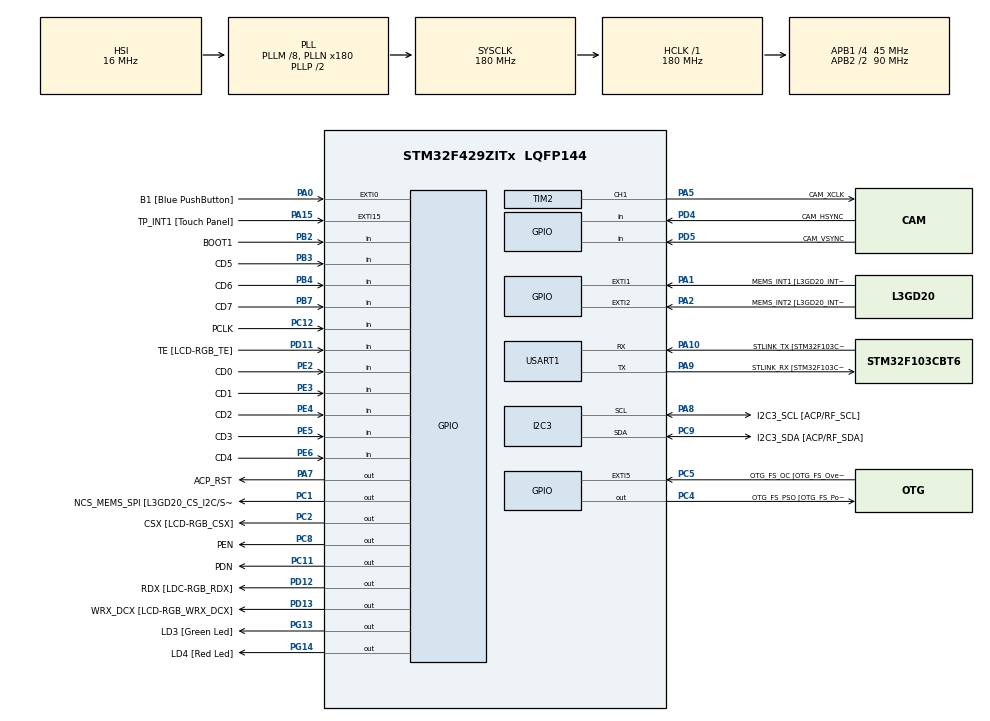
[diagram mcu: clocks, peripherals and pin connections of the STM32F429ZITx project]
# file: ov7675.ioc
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Mcu.Family=STM32F4
Mcu.Name=STM32F429ZITx
Mcu.Package=LQFP144
NVIC.PriorityGroup=NVIC_PRIORITYGROUP_0
PA0/WKUP.GPIO_Label=B1 [Blue PushButton]
PA0/WKUP.GPIO_ModeDefaultEXTI=GPIO_MODE_EVT_RISING
PA0/WKUP.GPIO_PuPd=GPIO_NOPULL
PA0/WKUP.Signal=GPXTI0
PA1.GPIO_Label=MEMS_INT1 [L3GD20_INT1]
PA1.GPIO_ModeDefaultEXTI=GPIO_MODE_EVT_RISING
PA1.GPIO_PuPd=GPIO_NOPULL
PA1.Signal=GPXTI1
PA10.GPIO_Label=STLINK_TX [STM32F103CBT6_PA2]
PA10.Mode=Asynchronous
PA10.Signal=USART1_RX
PA11.GPIO_Label=R4
PA11.GPIO_Mode=GPIO_MODE_AF_PP
PA11.GPIO_PuPd=GPIO_NOPULL
PA11.GPIO_Speed=GPIO_SPEED_FREQ_LOW
PA11.Signal=LTDC_R4
PA12.GPIO_Label=R5
PA12.GPIO_Mode=GPIO_MODE_AF_PP
PA12.GPIO_PuPd=GPIO_NOPULL
PA12.GPIO_Speed=GPIO_SPEED_FREQ_LOW
PA12.Signal=LTDC_R5
PA13.GPIO_Label=SWDIO
PA13.Signal=SYS_JTMS-SWDIO
PA14.GPIO_Label=SWCLK
PA14.Signal=SYS_JTCK-SWCLK
PA15.GPIO_Label=TP_INT1 [Touch Panel]
PA15.GPIO_ModeDefaultEXTI=GPIO_MODE_EVT_RISING
PA15.GPIO_PuPd=GPIO_NOPULL
PA15.Signal=GPXTI15
PA2.GPIO_Label=MEMS_INT2 [L3GD20_INT2]
PA2.GPIO_ModeDefaultEXTI=GPIO_MODE_EVT_RISING
PA2.GPIO_PuPd=GPIO_NOPULL
PA2.Signal=GPXTI2
PA3.GPIO_Label=B5
PA3.GPIO_Mode=GPIO_MODE_AF_PP
PA3.GPIO_PuPd=GPIO_NOPULL
PA3.GPIO_Speed=GPIO_SPEED_FREQ_LOW
PA3.Signal=LTDC_B5
PA4.GPIO_Label=VSYNC
PA4.GPIO_Mode=GPIO_MODE_AF_PP
PA4.GPIO_PuPd=GPIO_NOPULL
PA4.GPIO_Speed=GPIO_SPEED_FREQ_LOW
PA4.Signal=LTDC_VSYNC
PA5.GPIO_Label=CAM_XCLK
PA5.GPIO_Speed=GPIO_SPEED_FREQ_VERY_HIGH
PA5.Signal=S_TIM2_CH1_ETR
PA6.GPIO_Label=G2
PA6.GPIO_Mode=GPIO_MODE_AF_PP
PA6.GPIO_PuPd=GPIO_NOPULL
PA6.GPIO_Speed=GPIO_SPEED_FREQ_LOW
PA6.Signal=LTDC_G2
PA7.GPIO_Label=ACP_RST
PA7.GPIO_Mode=GPIO_MODE_OUTPUT_PP
PA7.GPIO_PuPd=GPIO_NOPULL
PA7.GPIO_Speed=GPIO_SPEED_FREQ_LOW
PA7.Signal=GPIO_Output
PA8.GPIO_Label=I2C3_SCL [ACP/RF_SCL]
PA8.GPIO_Mode=GPIO_MODE_AF_OD
PA8.GPIO_PuPd=GPIO_NOPULL
PA8.GPIO_Speed=GPIO_SPEED_FREQ_LOW
PA8.Mode=I2C
PA8.Signal=I2C3_SCL
PA9.GPIO_Label=STLINK_RX [STM32F103CBT6_PA3]
PA9.Mode=Asynchronous
PA9.Signal=USART1_TX
PB0.GPIO_Label=R3
PB0.GPIO_Mode=GPIO_MODE_AF_PP
PB0.GPIO_PuPd=GPIO_NOPULL
PB0.GPIO_Speed=GPIO_SPEED_FREQ_LOW
PB0.Signal=LTDC_R3
PB1.GPIO_Label=R6
PB1.GPIO_Mode=GPIO_MODE_AF_PP
PB1.GPIO_PuPd=GPIO_NOPULL
PB1.GPIO_Speed=GPIO_SPEED_FREQ_LOW
PB1.Signal=LTDC_R6
PB10.GPIO_Label=G4
PB10.GPIO_Mode=GPIO_MODE_AF_PP
PB10.GPIO_PuPd=GPIO_NOPULL
PB10.GPIO_Speed=GPIO_SPEED_FREQ_LOW
PB10.Signal=LTDC_G4
PB11.GPIO_Label=G5
PB11.GPIO_Mode=GPIO_MODE_AF_PP
PB11.GPIO_PuPd=GPIO_NOPULL
PB11.GPIO_Speed=GPIO_SPEED_FREQ_LOW
PB11.Signal=LTDC_G5
PB12.GPIO_Label=OTG_HS_ID
PB12.GPIO_Mode=GPIO_MODE_AF_PP
PB12.GPIO_PuPd=GPIO_NOPULL
PB12.GPIO_Speed=GPIO_SPEED_FREQ_LOW
PB12.Signal=USB_OTG_HS_ID
PB13.GPIO_Label=VBUS_HS
PB13.GPIO_Mode=GPIO_MODE_INPUT
PB13.GPIO_PuPd=GPIO_NOPULL
PB13.Signal=USB_OTG_HS_VBUS
PB14.GPIO_Label=OTG_HS_DM
PB14.GPIO_Mode=GPIO_MODE_AF_PP
PB14.GPIO_PuPd=GPIO_NOPULL
PB14.GPIO_Speed=GPIO_SPEED_FREQ_LOW
PB14.Signal=USB_OTG_HS_DM
PB15.GPIO_Label=OTG_HS_DP
PB15.GPIO_Mode=GPIO_MODE_AF_PP
PB15.GPIO_PuPd=GPIO_NOPULL
PB15.GPIO_Speed=GPIO_SPEED_FREQ_LOW
PB15.Signal=USB_OTG_HS_DP
PB2/BOOT1.GPIO_Label=BOOT1
PB2/BOOT1.GPIO_Mode=GPIO_MODE_INPUT
PB2/BOOT1.GPIO_PuPd=GPIO_NOPULL
PB2/BOOT1.Signal=GPIO_Input
PB3.GPIO_Label=CD5
PB3.Signal=GPIO_Input
PB4.GPIO_Label=CD6
PB4.Signal=GPIO_Input
PB5.GPIO_Label=SDCKE1
PB5.GPIO_Mode=GPIO_MODE_AF_PP
PB5.GPIO_PuPd=GPIO_NOPULL
PB5.GPIO_Speed=GPIO_SPEED_FREQ_VERY_HIGH
PB5.Signal=FMC_SDCKE1
PB6.GPIO_Label=SDNE1 [SDRAM_CS]
PB6.GPIO_Mode=GPIO_MODE_AF_PP
PB6.GPIO_PuPd=GPIO_NOPULL
PB6.GPIO_Speed=GPIO_SPEED_FREQ_VERY_HIGH
PB6.Signal=FMC_SDNE1
PB7.GPIO_Label=CD7
PB7.Signal=GPIO_Input
PB8.GPIO_Label=B6
PB8.GPIO_Mode=GPIO_MODE_AF_PP
PB8.GPIO_PuPd=GPIO_NOPULL
PB8.GPIO_Speed=GPIO_SPEED_FREQ_LOW
PB8.Signal=LTDC_B6
PB9.GPIO_Label=B7
PB9.GPIO_Mode=GPIO_MODE_AF_PP
PB9.GPIO_PuPd=GPIO_NOPULL
PB9.GPIO_Speed=GPIO_SPEED_FREQ_LOW
PB9.Signal=LTDC_B7
PC0.GPIO_Label=SDNWE
PC0.GPIO_Mode=GPIO_MODE_AF_PP
PC0.GPIO_PuPd=GPIO_NOPULL
PC0.GPIO_Speed=GPIO_SPEED_FREQ_VERY_HIGH
PC0.Signal=FMC_SDNWE
PC1.GPIO_Label=NCS_MEMS_SPI [L3GD20_CS_I2C/SPI]
PC1.GPIO_Mode=GPIO_MODE_OUTPUT_PP
PC1.GPIO_PuPd=GPIO_NOPULL
PC1.GPIO_Speed=GPIO_SPEED_FREQ_LOW
PC1.Signal=GPIO_Output
PC10.GPIO_Label=R2
PC10.GPIO_Mode=GPIO_MODE_AF_PP
PC10.GPIO_PuPd=GPIO_NOPULL
PC10.GPIO_Speed=GPIO_SPEED_FREQ_LOW
PC10.Signal=LTDC_R2
PC11.GPIO_Label=PDN
PC11.Signal=GPIO_Output
PC12.GPIO_Label=PCLK
PC12.Signal=GPIO_Input
PC14/OSC32_IN.GPIO_Label=PC14-OSC32_IN
PC14/OSC32_IN.Signal=RCC_OSC32_IN
PC15/OSC32_OUT.GPIO_Label=PC15-OSC32_OUT
PC15/OSC32_OUT.Signal=RCC_OSC32_OUT
PC2.GPIO_Label=CSX [LCD-RGB_CSX]
PC2.GPIO_Mode=GPIO_MODE_OUTPUT_PP
PC2.GPIO_PuPd=GPIO_NOPULL
PC2.GPIO_Speed=GPIO_SPEED_FREQ_LOW
PC2.Signal=GPIO_Output
PC4.GPIO_Label=OTG_FS_PSO [OTG_FS_PowerSwitchOn]
PC4.GPIO_Mode=GPIO_MODE_OUTPUT_PP
PC4.GPIO_PuPd=GPIO_NOPULL
PC4.GPIO_Speed=GPIO_SPEED_FREQ_LOW
PC4.Signal=GPIO_Output
PC5.GPIO_Label=OTG_FS_OC [OTG_FS_OverCurrent]
PC5.GPIO_ModeDefaultEXTI=GPIO_MODE_EVT_RISING
PC5.Signal=GPXTI5
PC6.GPIO_Label=HSYNC
PC6.GPIO_Mode=GPIO_MODE_AF_PP
PC6.GPIO_PuPd=GPIO_NOPULL
PC6.GPIO_Speed=GPIO_SPEED_FREQ_LOW
PC6.Signal=LTDC_HSYNC
PC7.GPIO_Label=G6
PC7.GPIO_Mode=GPIO_MODE_AF_PP
PC7.GPIO_PuPd=GPIO_NOPULL
PC7.GPIO_Speed=GPIO_SPEED_FREQ_LOW
PC7.Signal=LTDC_G6
PC8.GPIO_Label=PEN
PC8.Signal=GPIO_Output
PC9.GPIO_Label=I2C3_SDA [ACP/RF_SDA]
PC9.GPIO_Mode=GPIO_MODE_AF_OD
PC9.GPIO_PuPd=GPIO_NOPULL
PC9.GPIO_Speed=GPIO_SPEED_FREQ_LOW
PC9.Mode=I2C
PC9.Signal=I2C3_SDA
PD0.GPIO_Label=D2
PD0.GPIO_Mode=GPIO_MODE_AF_PP
PD0.GPIO_PuPd=GPIO_NOPULL
PD0.GPIO_Speed=GPIO_SPEED_FREQ_VERY_HIGH
PD0.Signal=FMC_D2_DA2
PD1.GPIO_Label=D3
PD1.GPIO_Mode=GPIO_MODE_AF_PP
PD1.GPIO_PuPd=GPIO_NOPULL
PD1.GPIO_Speed=GPIO_SPEED_FREQ_VERY_HIGH
PD1.Signal=FMC_D3_DA3
PD10.GPIO_Label=D15
PD10.GPIO_Mode=GPIO_MODE_AF_PP
PD10.GPIO_PuPd=GPIO_NOPULL
PD10.GPIO_Speed=GPIO_SPEED_FREQ_VERY_HIGH
PD10.Signal=FMC_D15_DA15
PD11.GPIO_Label=TE [LCD-RGB_TE]
PD11.GPIO_Mode=GPIO_MODE_INPUT
PD11.GPIO_PuPd=GPIO_NOPULL
PD11.Signal=GPIO_Input
PD12.GPIO_Label=RDX [LDC-RGB_RDX]
PD12.GPIO_Mode=GPIO_MODE_OUTPUT_PP
PD12.GPIO_PuPd=GPIO_NOPULL
PD12.GPIO_Speed=GPIO_SPEED_FREQ_LOW
PD12.Signal=GPIO_Output
PD13.GPIO_Label=WRX_DCX [LCD-RGB_WRX_DCX]
PD13.GPIO_Mode=GPIO_MODE_OUTPUT_PP
PD13.GPIO_PuPd=GPIO_NOPULL
PD13.GPIO_Speed=GPIO_SPEED_FREQ_LOW
PD13.Signal=GPIO_Output
PD14.GPIO_Label=D0
PD14.GPIO_Mode=GPIO_MODE_AF_PP
PD14.GPIO_PuPd=GPIO_NOPULL
PD14.GPIO_Speed=GPIO_SPEED_FREQ_VERY_HIGH
PD14.Signal=FMC_D0_DA0
PD15.GPIO_Label=D1
PD15.GPIO_Mode=GPIO_MODE_AF_PP
PD15.GPIO_PuPd=GPIO_NOPULL
PD15.GPIO_Speed=GPIO_SPEED_FREQ_VERY_HIGH
PD15.Signal=FMC_D1_DA1
PD3.GPIO_Label=G7
PD3.GPIO_Mode=GPIO_MODE_AF_PP
PD3.GPIO_PuPd=GPIO_NOPULL
PD3.GPIO_Speed=GPIO_SPEED_FREQ_LOW
PD3.Signal=LTDC_G7
PD4.GPIO_Label=CAM_HSYNC
PD4.Signal=GPIO_Input
PD5.GPIO_Label=CAM_VSYNC
PD5.Signal=GPIO_Input
PD6.GPIO_Label=B2
PD6.GPIO_Mode=GPIO_MODE_AF_PP
PD6.GPIO_PuPd=GPIO_NOPULL
PD6.GPIO_Speed=GPIO_SPEED_FREQ_LOW
PD6.Signal=LTDC_B2
PD8.GPIO_Label=D13
PD8.GPIO_Mode=GPIO_MODE_AF_PP
PD8.GPIO_PuPd=GPIO_NOPULL
PD8.GPIO_Speed=GPIO_SPEED_FREQ_VERY_HIGH
PD8.Signal=FMC_D13_DA13
PD9.GPIO_Label=D14
PD9.GPIO_Mode=GPIO_MODE_AF_PP
PD9.GPIO_PuPd=GPIO_NOPULL
PD9.GPIO_Speed=GPIO_SPEED_FREQ_VERY_HIGH
PD9.Signal=FMC_D14_DA14
PE0.GPIO_Label=NBL0 [SDRAM_LDQM]
PE0.GPIO_Mode=GPIO_MODE_AF_PP
PE0.GPIO_PuPd=GPIO_NOPULL
PE0.GPIO_Speed=GPIO_SPEED_FREQ_VERY_HIGH
PE0.Signal=FMC_NBL0
PE1.GPIO_Label=NBL1 [SDRAM_UDQM]
PE1.GPIO_Mode=GPIO_MODE_AF_PP
PE1.GPIO_PuPd=GPIO_NOPULL
PE1.GPIO_Speed=GPIO_SPEED_FREQ_VERY_HIGH
PE1.Signal=FMC_NBL1
PE10.GPIO_Label=D7
PE10.GPIO_Mode=GPIO_MODE_AF_PP
PE10.GPIO_PuPd=GPIO_NOPULL
PE10.GPIO_Speed=GPIO_SPEED_FREQ_VERY_HIGH
PE10.Signal=FMC_D7_DA7
PE11.GPIO_Label=D8
PE11.GPIO_Mode=GPIO_MODE_AF_PP
PE11.GPIO_PuPd=GPIO_NOPULL
PE11.GPIO_Speed=GPIO_SPEED_FREQ_VERY_HIGH
PE11.Signal=FMC_D8_DA8
PE12.GPIO_Label=D9
PE12.GPIO_Mode=GPIO_MODE_AF_PP
PE12.GPIO_PuPd=GPIO_NOPULL
PE12.GPIO_Speed=GPIO_SPEED_FREQ_VERY_HIGH
PE12.Signal=FMC_D9_DA9
PE13.GPIO_Label=D10
PE13.GPIO_Mode=GPIO_MODE_AF_PP
PE13.GPIO_PuPd=GPIO_NOPULL
PE13.GPIO_Speed=GPIO_SPEED_FREQ_VERY_HIGH
PE13.Signal=FMC_D10_DA10
PE14.GPIO_Label=D11
PE14.GPIO_Mode=GPIO_MODE_AF_PP
PE14.GPIO_PuPd=GPIO_NOPULL
PE14.GPIO_Speed=GPIO_SPEED_FREQ_VERY_HIGH
PE14.Signal=FMC_D11_DA11
PE15.GPIO_Label=D12
PE15.GPIO_Mode=GPIO_MODE_AF_PP
PE15.GPIO_PuPd=GPIO_NOPULL
PE15.GPIO_Speed=GPIO_SPEED_FREQ_VERY_HIGH
PE15.Signal=FMC_D12_DA12
PE2.GPIO_Label=CD0
PE2.Signal=GPIO_Input
PE3.GPIO_Label=CD1
PE3.Signal=GPIO_Input
PE4.GPIO_Label=CD2
PE4.Signal=GPIO_Input
PE5.GPIO_Label=CD3
PE5.Signal=GPIO_Input
PE6.GPIO_Label=CD4
PE6.Signal=GPIO_Input
PE7.GPIO_Label=D4
PE7.GPIO_Mode=GPIO_MODE_AF_PP
PE7.GPIO_PuPd=GPIO_NOPULL
PE7.GPIO_Speed=GPIO_SPEED_FREQ_VERY_HIGH
PE7.Signal=FMC_D4_DA4
PE8.GPIO_Label=D5
PE8.GPIO_Mode=GPIO_MODE_AF_PP
PE8.GPIO_PuPd=GPIO_NOPULL
PE8.GPIO_Speed=GPIO_SPEED_FREQ_VERY_HIGH
PE8.Signal=FMC_D5_DA5
PE9.GPIO_Label=D6
PE9.GPIO_Mode=GPIO_MODE_AF_PP
PE9.GPIO_PuPd=GPIO_NOPULL
PE9.GPIO_Speed=GPIO_SPEED_FREQ_VERY_HIGH
PE9.Signal=FMC_D6_DA6
PF1.GPIO_Label=A1
PF1.GPIO_Mode=GPIO_MODE_AF_PP
PF1.GPIO_PuPd=GPIO_NOPULL
PF1.GPIO_Speed=GPIO_SPEED_FREQ_VERY_HIGH
PF1.Signal=FMC_A1
PF10.GPIO_Label=ENABLE [LCD-RGB_ENABLE]
PF10.GPIO_Mode=GPIO_MODE_AF_PP
PF10.GPIO_PuPd=GPIO_NOPULL
PF10.GPIO_Speed=GPIO_SPEED_FREQ_LOW
PF10.Signal=LTDC_DE
PF11.GPIO_Label=SDNRAS
PF11.GPIO_Mode=GPIO_MODE_AF_PP
PF11.GPIO_PuPd=GPIO_NOPULL
PF11.GPIO_Speed=GPIO_SPEED_FREQ_VERY_HIGH
PF11.Signal=FMC_SDNRAS
PF12.GPIO_Label=A6
PF12.GPIO_Mode=GPIO_MODE_AF_PP
PF12.GPIO_PuPd=GPIO_NOPULL
PF12.GPIO_Speed=GPIO_SPEED_FREQ_VERY_HIGH
PF12.Signal=FMC_A6
PF13.GPIO_Label=A7
PF13.GPIO_Mode=GPIO_MODE_AF_PP
PF13.GPIO_PuPd=GPIO_NOPULL
PF13.GPIO_Speed=GPIO_SPEED_FREQ_VERY_HIGH
PF13.Signal=FMC_A7
PF14.GPIO_Label=A8
PF14.GPIO_Mode=GPIO_MODE_AF_PP
PF14.GPIO_PuPd=GPIO_NOPULL
PF14.GPIO_Speed=GPIO_SPEED_FREQ_VERY_HIGH
PF14.Signal=FMC_A8
PF15.GPIO_Label=A9
PF15.GPIO_Mode=GPIO_MODE_AF_PP
PF15.GPIO_PuPd=GPIO_NOPULL
PF15.GPIO_Speed=GPIO_SPEED_FREQ_VERY_HIGH
PF15.Signal=FMC_A9
PF2.GPIO_Label=A2
PF2.GPIO_Mode=GPIO_MODE_AF_PP
PF2.GPIO_PuPd=GPIO_NOPULL
PF2.GPIO_Speed=GPIO_SPEED_FREQ_VERY_HIGH
PF2.Signal=FMC_A2
PF3.GPIO_Label=A3
PF3.GPIO_Mode=GPIO_MODE_AF_PP
PF3.GPIO_PuPd=GPIO_NOPULL
PF3.GPIO_Speed=GPIO_SPEED_FREQ_VERY_HIGH
PF3.Signal=FMC_A3
PF4.GPIO_Label=A4
PF4.GPIO_Mode=GPIO_MODE_AF_PP
PF4.GPIO_PuPd=GPIO_NOPULL
PF4.GPIO_Speed=GPIO_SPEED_FREQ_VERY_HIGH
PF4.Signal=FMC_A4
PF5.GPIO_Label=A5
PF5.GPIO_Mode=GPIO_MODE_AF_PP
PF5.GPIO_PuPd=GPIO_NOPULL
PF5.GPIO_Speed=GPIO_SPEED_FREQ_VERY_HIGH
PF5.Signal=FMC_A5
PF7.GPIO_Label=SPI5_SCK [L3GD20_SCL/SPC]
PF7.GPIO_Mode=GPIO_MODE_AF_PP
PF7.GPIO_PuPd=GPIO_NOPULL
PF7.GPIO_Speed=GPIO_SPEED_FREQ_LOW
PF7.Signal=SPI5_SCK
PF8.GPIO_Label=SPI5_MISO [L3GD20_SDO]
PF8.GPIO_Mode=GPIO_MODE_AF_PP
PF8.GPIO_PuPd=GPIO_NOPULL
PF8.GPIO_Speed=GPIO_SPEED_FREQ_LOW
PF8.Signal=SPI5_MISO
PF9.GPIO_Label=SPI5_MOSI [L3GD20_SDA/SDI/SDO]
PF9.GPIO_Mode=GPIO_MODE_AF_PP
PF9.GPIO_PuPd=GPIO_NOPULL
PF9.GPIO_Speed=GPIO_SPEED_FREQ_LOW
PF9.Signal=SPI5_MOSI
PG0.GPIO_Label=A10
PG0.GPIO_Mode=GPIO_MODE_AF_PP
PG0.GPIO_PuPd=GPIO_NOPULL
PG0.GPIO_Speed=GPIO_SPEED_FREQ_VERY_HIGH
PG0.Signal=FMC_A10
PG1.GPIO_Label=A11
PG1.GPIO_Mode=GPIO_MODE_AF_PP
PG1.GPIO_PuPd=GPIO_NOPULL
PG1.GPIO_Speed=GPIO_SPEED_FREQ_VERY_HIGH
PG1.Signal=FMC_A11
PG10.GPIO_Label=G3
PG10.GPIO_Mode=GPIO_MODE_AF_PP
PG10.GPIO_PuPd=GPIO_NOPULL
PG10.GPIO_Speed=GPIO_SPEED_FREQ_LOW
PG10.Signal=LTDC_G3
PG11.GPIO_Label=B3
PG11.GPIO_Mode=GPIO_MODE_AF_PP
PG11.GPIO_PuPd=GPIO_NOPULL
PG11.GPIO_Speed=GPIO_SPEED_FREQ_LOW
PG11.Signal=LTDC_B3
PG12.GPIO_Label=B4
PG12.GPIO_Mode=GPIO_MODE_AF_PP
PG12.GPIO_PuPd=GPIO_NOPULL
PG12.GPIO_Speed=GPIO_SPEED_FREQ_LOW
PG12.Signal=LTDC_B4
PG13.GPIO_Label=LD3 [Green Led]
PG13.GPIO_Mode=GPIO_MODE_OUTPUT_PP
PG13.GPIO_PuPd=GPIO_NOPULL
PG13.GPIO_Speed=GPIO_SPEED_FREQ_LOW
PG13.Signal=GPIO_Output
PG14.GPIO_Label=LD4 [Red Led]
PG14.GPIO_Mode=GPIO_MODE_OUTPUT_PP
PG14.GPIO_PuPd=GPIO_NOPULL
PG14.GPIO_Speed=GPIO_SPEED_FREQ_LOW
PG14.Signal=GPIO_Output
PG15.GPIO_Label=SDNCAS
PG15.GPIO_Mode=GPIO_MODE_AF_PP
PG15.GPIO_PuPd=GPIO_NOPULL
PG15.GPIO_Speed=GPIO_SPEED_FREQ_VERY_HIGH
PG15.Signal=FMC_SDNCAS
PG4.GPIO_Label=BA0
PG4.GPIO_Mode=GPIO_MODE_AF_PP
PG4.GPIO_PuPd=GPIO_NOPULL
PG4.GPIO_Speed=GPIO_SPEED_FREQ_VERY_HIGH
PG4.Signal=FMC_A14_BA0
PG5.GPIO_Label=BA1
PG5.GPIO_Mode=GPIO_MODE_AF_PP
PG5.GPIO_PuPd=GPIO_NOPULL
PG5.GPIO_Speed=GPIO_SPEED_FREQ_VERY_HIGH
PG5.Signal=FMC_A15_BA1
PG6.GPIO_Label=R7
PG6.GPIO_Mode=GPIO_MODE_AF_PP
PG6.GPIO_PuPd=GPIO_NOPULL
PG6.GPIO_Speed=GPIO_SPEED_FREQ_LOW
PG6.Signal=LTDC_R7
PG7.GPIO_Label=DOTCLK [LCT-RGB_DOTCLK]
PG7.GPIO_Mode=GPIO_MODE_AF_PP
PG7.GPIO_PuPd=GPIO_NOPULL
PG7.GPIO_Speed=GPIO_SPEED_FREQ_LOW
PG7.Signal=LTDC_CLK
PG8.GPIO_Label=SDCLK
PG8.GPIO_Mode=GPIO_MODE_AF_PP
PG8.GPIO_PuPd=GPIO_NOPULL
PG8.GPIO_Speed=GPIO_SPEED_FREQ_VERY_HIGH
PG8.Signal=FMC_SDCLK
PH0/OSC_IN.GPIO_Label=PH0-OSC_IN
PH0/OSC_IN.Signal=RCC_OSC_IN
PH1/OSC_OUT.GPIO_Label=PH1-OSC_OUT
PH1/OSC_OUT.Signal=RCC_OSC_OUT
ProjectManager.HeapSize=0x200
ProjectManager.StackSize=0x400
ProjectManager.TargetToolchain=Makefile
RCC.48MHZClocksFreq_Value=51428571.428571425
RCC.AHBFreq_Value=180000000
RCC.APB1CLKDivider=RCC_HCLK_DIV4
RCC.APB1Freq_Value=45000000
RCC.APB1TimFreq_Value=90000000
RCC.APB2CLKDivider=RCC_HCLK_DIV2
RCC.APB2Freq_Value=90000000
RCC.APB2TimFreq_Value=180000000
RCC.CortexFreq_Value=180000000
RCC.HCLKFreq_Value=180000000
RCC.HSE_VALUE=8000000
RCC.HSI_VALUE=16000000
RCC.LSE_VALUE=32768
RCC.PLLM=8
RCC.PLLN=180
RCC.PLLQ=7
RCC.SYSCLKFreq_VALUE=180000000
RCC.SYSCLKSource=RCC_SYSCLKSOURCE_PLLCLK
RCC.VCOOutputFreq_Value=360000000
SH.FMC_A1.0=FMC_A1
SH.FMC_A10.0=FMC_A10
SH.FMC_A11.0=FMC_A11
SH.FMC_A14_BA0.0=FMC_BA0
SH.FMC_A15_BA1.0=FMC_BA1
SH.FMC_A2.0=FMC_A2
SH.FMC_A3.0=FMC_A3
SH.FMC_A4.0=FMC_A4
SH.FMC_A5.0=FMC_A5
SH.FMC_A6.0=FMC_A6
SH.FMC_A7.0=FMC_A7
SH.FMC_A8.0=FMC_A8
SH.FMC_A9.0=FMC_A9
SH.FMC_D0_DA0.0=FMC_D0
SH.FMC_D10_DA10.0=FMC_D10
SH.FMC_D11_DA11.0=FMC_D11
SH.FMC_D12_DA12.0=FMC_D12
SH.FMC_D13_DA13.0=FMC_D13
SH.FMC_D14_DA14.0=FMC_D14
SH.FMC_D15_DA15.0=FMC_D15
SH.FMC_D1_DA1.0=FMC_D1
SH.FMC_D2_DA2.0=FMC_D2
SH.FMC_D3_DA3.0=FMC_D3
SH.FMC_D4_DA4.0=FMC_D4
SH.FMC_D5_DA5.0=FMC_D5
SH.FMC_D6_DA6.0=FMC_D6
SH.FMC_D7_DA7.0=FMC_D7
SH.FMC_D8_DA8.0=FMC_D8
SH.FMC_D9_DA9.0=FMC_D9
SH.FMC_NBL0.0=FMC_NBL0
SH.FMC_NBL1.0=FMC_NBL1
SH.FMC_SDCLK.0=FMC_SDCLK
SH.FMC_SDNCAS.0=FMC_SDNCAS
SH.FMC_SDNRAS.0=FMC_SDNRAS
SH.FMC_SDNWE.0=FMC_SDNWE
SH.S_TIM2_CH1_ETR.0=TIM2_CH1,Output Compare1 CH1
TIM2.Channel-Output\ Compare1\ CH1=TIM_CHANNEL_1
TIM2.OCMode_1=TIM_OCMODE_TOGGLE
USART1.VirtualMode=VM_ASYNC
VP_TIM2_VS_ClockSourceINT.Mode=Internal
board=STM32F429I-DISC1

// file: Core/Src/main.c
/* USER CODE BEGIN Header */
/**
  ******************************************************************************
  * @file           : main.c
  * @brief          : Main program body
  ******************************************************************************
  * @attention
  *
  * Copyright (c) 2025 STMicroelectronics.
  * All rights reserved.
  *
  * This software is licensed under terms that can be found in the LICENSE file
  * in the root directory of this software component.
  * If no LICENSE file comes with this software, it is provided AS-IS.
  *
  ******************************************************************************
  */
/* USER CODE END Header */
#include "main.h"

/* USER CODE BEGIN Includes */
#include "clock.h"
#include "ov7675.h"

/* USER CODE END Includes */

/* USER CODE BEGIN PD */
#define CAMERA_FRAME_BUFFER ((uint16_t*)0xD00F0000)
/* USER CODE END PD */

I2C_HandleTypeDef hi2c3;

TIM_HandleTypeDef htim2;

UART_HandleTypeDef huart1;

DMA2D_HandleTypeDef hdma2d;

// uint16_t* g_cam_fb = CAMERA_FRAME_BUFFER;
uint16_t* g_cam_fb = LCD_FRAME_BUFFER;

void SystemClock_Config(void);
static void MX_GPIO_Init(void);
static void MX_I2C3_Init(void);
static void MX_TIM2_Init(void);
static void MX_USART1_UART_Init(void);

/* USER CODE BEGIN 0 */

PUTCHAR_PROTOTYPE
{
  /* Place your implementation of fputc here */
  /* e.g. write a character to the USART1 and Loop until the end of transmission */
  HAL_UART_Transmit(&huart1, (uint8_t *)&ch, 1, 0xFFFF);

  return ch;
}

void draw_moving_squares_rgb565(int window_height, int window_width, uint16_t *frameBuffer)
{
    static int offset = 0;
    uint16_t rgb = 0;
    uint8_t* p_rgb = (uint8_t*)&rgb;
    uint8_t a = 255,r,g,b;
    for (int y = 0; y < window_height; y++)
    {
        for (int x = 0; x < window_width; x++)
        {
          r = ((x + offset) % 128) >> 3; // 5 bit max
          g = ((y + offset) % 128) >> 2; // 6 bit max
          b = 128 >> 3; // 5 bit max

          // p_rbg[1][7:3] = 5 bit red , p_argb[1][2:0] = 3 bit green msb
          p_rgb[1] = (r << 3) | ( (g >> 3) & 0x7 );
          // p_argb[0][7:4] = 3 bit green lsb, p_argb[0][4:0] = 5 bit blue
          p_rgb[0] = (g & 0x7) << 4 | b;
          frameBuffer[y * window_width + x] = rgb;
        }
    }

  offset++;
}

void draw_moving_squares(int window_height, int window_width, uint32_t *frameBuffer)
{
    static int offset = 0;
    uint32_t argb = 0;
    uint8_t* p_argb = (uint8_t*)&argb;
    uint8_t a = 255,r,g,b;
    for (int y = 0; y < window_height; y++)
    {
        for (int x = 0; x < window_width; x++)
        {

          r = (x + offset) % 128;
          g = (y + offset) % 128;
          b = 128;
          p_argb[0] = b;
          p_argb[1] = g;
          p_argb[2] = r;
          p_argb[3] = a;
          frameBuffer[y * window_width + x] = argb;
        }
    }
  offset++;
}

void resize_by_2(int16_t *in, int16_t *out, const int inrows, const int incols)
{
    const int nlen = inrows * incols;
    int write_idx = 0;

    for (int i = 0; i < nlen; i+=2)
    {
        out[write_idx++] = in[i];
    }
}

/* USER CODE END 0 */

int main(void)
{

  /* USER CODE BEGIN 1 */

  int win_height, win_width;

  /* USER CODE END 1 */

  /* MCU Configuration--------------------------------------------------------*/

  /* Reset of all peripherals, Initializes the Flash interface and the Systick. */
  HAL_Init();

  /* Configure the system clock */
  SystemClock_Config();

  /* Initialize all configured peripherals */
  MX_GPIO_Init();
  MX_I2C3_Init();
  MX_TIM2_Init();
  MX_USART1_UART_Init();
  /* USER CODE BEGIN 2 */

  BSP_LCD_Init();
  win_height = BSP_LCD_GetYSize(); // 320
  win_width = BSP_LCD_GetXSize(); // 240
  printf("lcd height %d, lcd width %d\n", win_height, win_width);
  init_perf_counter();

  /* Initialize the LCD Layers */
  BSP_LCD_LayerDefaultInit(1, LCD_FRAME_BUFFER);
  BSP_LCD_SelectLayer(1);
  BSP_LCD_SetFont(&Font16);
  BSP_LCD_SetTextColor(LCD_COLOR_WHITE);
  BSP_LCD_Clear(0x0);

  ov7675_init();

  /* USER CODE END 2 */

  /* Infinite loop */
  /* USER CODE BEGIN WHILE */
  uint32_t tick_start, tick_stop;
  printf("RCC->AHB1ENR 0x%08x\n", RCC->AHB1ENR);
  while (1)
  {
      /* USER CODE END WHILE */

      /* USER CODE BEGIN 3 */
      // draw_moving_squares(win_height, win_width, LCD_FRAME_BUFFER);
      // draw_moving_squares_rgb565(win_height, win_width, LCD_FRAME_BUFFER);
      tick_start = clock_begin();
      GPIOG->ODR ^= LD4_Pin;
      ov7675_grab_frame(g_cam_fb);
      tick_stop = clock_end();
      // resize_by_2(CAMERA_FRAME_BUFFER, LCD_FRAME_BUFFER, 640, 480);
      // printf("Elapsed: %f s\n", (tick_stop - tick_start)/160e6);
  }

  /* USER CODE END 3 */
}

void SystemClock_Config(void)
{
  RCC_OscInitTypeDef RCC_OscInitStruct = {0};
  RCC_ClkInitTypeDef RCC_ClkInitStruct = {0};

  /** Configure the main internal regulator output voltage
  */
  __HAL_RCC_PWR_CLK_ENABLE();
  __HAL_PWR_VOLTAGESCALING_CONFIG(PWR_REGULATOR_VOLTAGE_SCALE1);

  /** Initializes the RCC Oscillators according to the specified parameters
  * in the RCC_OscInitTypeDef structure.
  */
  RCC_OscInitStruct.OscillatorType = RCC_OSCILLATORTYPE_HSI;
  RCC_OscInitStruct.HSIState = RCC_HSI_ON;
  RCC_OscInitStruct.HSICalibrationValue = RCC_HSICALIBRATION_DEFAULT;
  RCC_OscInitStruct.PLL.PLLState = RCC_PLL_ON;
  RCC_OscInitStruct.PLL.PLLSource = RCC_PLLSOURCE_HSI;
  RCC_OscInitStruct.PLL.PLLM = 8;
  RCC_OscInitStruct.PLL.PLLN = 180;
  RCC_OscInitStruct.PLL.PLLP = RCC_PLLP_DIV2;
  RCC_OscInitStruct.PLL.PLLQ = 7;
  if (HAL_RCC_OscConfig(&RCC_OscInitStruct) != HAL_OK)
  {
    Error_Handler();
  }

  /** Activate the Over-Drive mode
  */
  if (HAL_PWREx_EnableOverDrive() != HAL_OK)
  {
    Error_Handler();
  }

  /** Initializes the CPU, AHB and APB buses clocks
  */
  RCC_ClkInitStruct.ClockType = RCC_CLOCKTYPE_HCLK|RCC_CLOCKTYPE_SYSCLK
                              |RCC_CLOCKTYPE_PCLK1|RCC_CLOCKTYPE_PCLK2;
  RCC_ClkInitStruct.SYSCLKSource = RCC_SYSCLKSOURCE_PLLCLK;
  RCC_ClkInitStruct.AHBCLKDivider = RCC_SYSCLK_DIV1;
  RCC_ClkInitStruct.APB1CLKDivider = RCC_HCLK_DIV4;
  RCC_ClkInitStruct.APB2CLKDivider = RCC_HCLK_DIV2;

  if (HAL_RCC_ClockConfig(&RCC_ClkInitStruct, FLASH_LATENCY_5) != HAL_OK)
  {
    Error_Handler();
  }

  RCC->AHB1ENR |= (1 << 20); // enable ccm clock
}

static void MX_I2C3_Init(void)
{

  hi2c3.Instance = I2C3;
  hi2c3.Init.ClockSpeed = 100000;
  hi2c3.Init.DutyCycle = I2C_DUTYCYCLE_2;
  hi2c3.Init.OwnAddress1 = 0;
  hi2c3.Init.AddressingMode = I2C_ADDRESSINGMODE_7BIT;
  hi2c3.Init.DualAddressMode = I2C_DUALADDRESS_DISABLE;
  hi2c3.Init.OwnAddress2 = 0;
  hi2c3.Init.GeneralCallMode = I2C_GENERALCALL_DISABLE;
  hi2c3.Init.NoStretchMode = I2C_NOSTRETCH_DISABLE;
  if (HAL_I2C_Init(&hi2c3) != HAL_OK)
  {
    Error_Handler();
  }

  /** Configure Analogue filter
  */
  if (HAL_I2CEx_ConfigAnalogFilter(&hi2c3, I2C_ANALOGFILTER_ENABLE) != HAL_OK)
  {
    Error_Handler();
  }

  /** Configure Digital filter
  */
  if (HAL_I2CEx_ConfigDigitalFilter(&hi2c3, 0) != HAL_OK)
  {
    Error_Handler();
  }
  /* USER CODE BEGIN I2C3_Init 2 */
  HAL_I2C_MspInit(&hi2c3);
  /* USER CODE END I2C3_Init 2 */

}

static void MX_TIM2_Init(void)
{

  /* USER CODE BEGIN TIM2_Init 0 */
  const float xclk_freq = 6e6;
  uint32_t period_val = (int) (90e6 / xclk_freq);
  /* USER CODE END TIM2_Init 0 */

  TIM_ClockConfigTypeDef sClockSourceConfig = {0};
  TIM_MasterConfigTypeDef sMasterConfig = {0};
  TIM_OC_InitTypeDef sConfigOC = {0};

  htim2.Instance = TIM2;
  htim2.Init.Prescaler = 0;
  htim2.Init.CounterMode = TIM_COUNTERMODE_UP;
  htim2.Init.Period = period_val; // 4 = 22.5 MHz at 90 MHz input
  htim2.Init.ClockDivision = TIM_CLOCKDIVISION_DIV1;
  htim2.Init.AutoReloadPreload = TIM_AUTORELOAD_PRELOAD_DISABLE;
  if (HAL_TIM_Base_Init(&htim2) != HAL_OK)
  {
    Error_Handler();
  }
  sClockSourceConfig.ClockSource = TIM_CLOCKSOURCE_INTERNAL;
  if (HAL_TIM_ConfigClockSource(&htim2, &sClockSourceConfig) != HAL_OK)
  {
    Error_Handler();
  }
  if (HAL_TIM_OC_Init(&htim2) != HAL_OK)
  {
    Error_Handler();
  }
  sMasterConfig.MasterOutputTrigger = TIM_TRGO_RESET;
  sMasterConfig.MasterSlaveMode = TIM_MASTERSLAVEMODE_DISABLE;
  if (HAL_TIMEx_MasterConfigSynchronization(&htim2, &sMasterConfig) != HAL_OK)
  {
    Error_Handler();
  }
  sConfigOC.OCMode = TIM_OCMODE_PWM1;
  sConfigOC.Pulse = period_val / 2;
  sConfigOC.OCPolarity = TIM_OCPOLARITY_HIGH;
  sConfigOC.OCFastMode = TIM_OCFAST_DISABLE;
  if (HAL_TIM_OC_ConfigChannel(&htim2, &sConfigOC, TIM_CHANNEL_1) != HAL_OK)
  {
    Error_Handler();
  }
  HAL_TIM_MspPostInit(&htim2);

}

static void MX_USART1_UART_Init(void)
{

  huart1.Instance = USART1;
  huart1.Init.BaudRate = 115200;
  huart1.Init.WordLength = UART_WORDLENGTH_8B;
  huart1.Init.StopBits = UART_STOPBITS_1;
  huart1.Init.Parity = UART_PARITY_NONE;
  huart1.Init.Mode = UART_MODE_TX_RX;
  huart1.Init.HwFlowCtl = UART_HWCONTROL_NONE;
  huart1.Init.OverSampling = UART_OVERSAMPLING_16;
  if (HAL_UART_Init(&huart1) != HAL_OK)
  {
    Error_Handler();
  }

}

static void MX_GPIO_Init(void)
{
  GPIO_InitTypeDef GPIO_InitStruct = {0};

  /* GPIO Ports Clock Enable */
  __HAL_RCC_GPIOE_CLK_ENABLE();
  __HAL_RCC_GPIOC_CLK_ENABLE();
  __HAL_RCC_GPIOF_CLK_ENABLE();
  __HAL_RCC_GPIOH_CLK_ENABLE();
  __HAL_RCC_GPIOA_CLK_ENABLE();
  __HAL_RCC_GPIOB_CLK_ENABLE();
  __HAL_RCC_GPIOG_CLK_ENABLE();
  __HAL_RCC_GPIOD_CLK_ENABLE();

  /*Configure GPIO pin Output Level */
  HAL_GPIO_WritePin(GPIOC, NCS_MEMS_SPI_Pin|CSX_Pin|OTG_FS_PSO_Pin, GPIO_PIN_RESET);

  /*Configure GPIO pin Output Level */
  HAL_GPIO_WritePin(ACP_RST_GPIO_Port, ACP_RST_Pin, GPIO_PIN_RESET);

  /*Configure GPIO pin Output Level */
  HAL_GPIO_WritePin(GPIOD, RDX_Pin|WRX_DCX_Pin, GPIO_PIN_RESET);

  /*Configure GPIO pin Output Level */
  HAL_GPIO_WritePin(GPIOG, LD3_Pin|LD4_Pin, GPIO_PIN_RESET);

  /*Configure GPIO pins : CD0_Pin CD1_Pin CD2_Pin CD3_Pin
                           CD4_Pin */
  GPIO_InitStruct.Pin = CD0_Pin|CD1_Pin|CD2_Pin|CD3_Pin
                          |CD4_Pin;
  GPIO_InitStruct.Mode = GPIO_MODE_INPUT;
  GPIO_InitStruct.Pull = GPIO_NOPULL;
  HAL_GPIO_Init(GPIOE, &GPIO_InitStruct);

  /*Configure GPIO pins : A1_Pin A2_Pin A3_Pin A4_Pin
                           A5_Pin SDNRAS_Pin A6_Pin A7_Pin
                           A8_Pin A9_Pin */
  GPIO_InitStruct.Pin = A1_Pin|A2_Pin|A3_Pin|A4_Pin
                          |A5_Pin|SDNRAS_Pin|A6_Pin|A7_Pin
                          |A8_Pin|A9_Pin;
  GPIO_InitStruct.Mode = GPIO_MODE_AF_PP;
  GPIO_InitStruct.Pull = GPIO_NOPULL;
  GPIO_InitStruct.Speed = GPIO_SPEED_FREQ_VERY_HIGH;
  GPIO_InitStruct.Alternate = GPIO_AF12_FMC;
  HAL_GPIO_Init(GPIOF, &GPIO_InitStruct);

  /*Configure GPIO pins : SPI5_SCK_Pin SPI5_MISO_Pin SPI5_MOSI_Pin */
  GPIO_InitStruct.Pin = SPI5_SCK_Pin|SPI5_MISO_Pin|SPI5_MOSI_Pin;
  GPIO_InitStruct.Mode = GPIO_MODE_AF_PP;
  GPIO_InitStruct.Pull = GPIO_NOPULL;
  GPIO_InitStruct.Speed = GPIO_SPEED_FREQ_LOW;
  GPIO_InitStruct.Alternate = GPIO_AF5_SPI5;
  HAL_GPIO_Init(GPIOF, &GPIO_InitStruct);

  /*Configure GPIO pin : ENABLE_Pin */
  GPIO_InitStruct.Pin = ENABLE_Pin;
  GPIO_InitStruct.Mode = GPIO_MODE_AF_PP;
  GPIO_InitStruct.Pull = GPIO_NOPULL;
  GPIO_InitStruct.Speed = GPIO_SPEED_FREQ_LOW;
  GPIO_InitStruct.Alternate = GPIO_AF14_LTDC;
  HAL_GPIO_Init(ENABLE_GPIO_Port, &GPIO_InitStruct);

  /*Configure GPIO pin : SDNWE_Pin */
  GPIO_InitStruct.Pin = SDNWE_Pin;
  GPIO_InitStruct.Mode = GPIO_MODE_AF_PP;
  GPIO_InitStruct.Pull = GPIO_NOPULL;
  GPIO_InitStruct.Speed = GPIO_SPEED_FREQ_VERY_HIGH;
  GPIO_InitStruct.Alternate = GPIO_AF12_FMC;
  HAL_GPIO_Init(SDNWE_GPIO_Port, &GPIO_InitStruct);

  /*Configure GPIO pins : NCS_MEMS_SPI_Pin CSX_Pin OTG_FS_PSO_Pin */
  GPIO_InitStruct.Pin = NCS_MEMS_SPI_Pin|CSX_Pin|OTG_FS_PSO_Pin;
  GPIO_InitStruct.Mode = GPIO_MODE_OUTPUT_PP;
  GPIO_InitStruct.Pull = GPIO_NOPULL;
  GPIO_InitStruct.Speed = GPIO_SPEED_FREQ_LOW;
  HAL_GPIO_Init(GPIOC, &GPIO_InitStruct);

  /*Configure GPIO pins : B1_Pin MEMS_INT1_Pin MEMS_INT2_Pin TP_INT1_Pin */
  GPIO_InitStruct.Pin = B1_Pin|MEMS_INT1_Pin|MEMS_INT2_Pin|TP_INT1_Pin;
  GPIO_InitStruct.Mode = GPIO_MODE_EVT_RISING;
  GPIO_InitStruct.Pull = GPIO_NOPULL;
  HAL_GPIO_Init(GPIOA, &GPIO_InitStruct);

  /*Configure GPIO pins : B5_Pin VSYNC_Pin G2_Pin R4_Pin
                           R5_Pin */
  GPIO_InitStruct.Pin = B5_Pin|VSYNC_Pin|G2_Pin|R4_Pin
                          |R5_Pin;
  GPIO_InitStruct.Mode = GPIO_MODE_AF_PP;
  GPIO_InitStruct.Pull = GPIO_NOPULL;
  GPIO_InitStruct.Speed = GPIO_SPEED_FREQ_LOW;
  GPIO_InitStruct.Alternate = GPIO_AF14_LTDC;
  HAL_GPIO_Init(GPIOA, &GPIO_InitStruct);

  /*Configure GPIO pin : ACP_RST_Pin */
  GPIO_InitStruct.Pin = ACP_RST_Pin;
  GPIO_InitStruct.Mode = GPIO_MODE_OUTPUT_PP;
  GPIO_InitStruct.Pull = GPIO_NOPULL;
  GPIO_InitStruct.Speed = GPIO_SPEED_FREQ_LOW;
  HAL_GPIO_Init(ACP_RST_GPIO_Port, &GPIO_InitStruct);

  /*Configure GPIO pin : OTG_FS_OC_Pin */
  GPIO_InitStruct.Pin = OTG_FS_OC_Pin;
  GPIO_InitStruct.Mode = GPIO_MODE_EVT_RISING;
  GPIO_InitStruct.Pull = GPIO_NOPULL;
  HAL_GPIO_Init(OTG_FS_OC_GPIO_Port, &GPIO_InitStruct);

  /*Configure GPIO pins : R3_Pin R6_Pin */
  GPIO_InitStruct.Pin = R3_Pin|R6_Pin;
  GPIO_InitStruct.Mode = GPIO_MODE_AF_PP;
  GPIO_InitStruct.Pull = GPIO_NOPULL;
  GPIO_InitStruct.Speed = GPIO_SPEED_FREQ_LOW;
  GPIO_InitStruct.Alternate = GPIO_AF9_LTDC;
  HAL_GPIO_Init(GPIOB, &GPIO_InitStruct);

  /*Configure GPIO pins : BOOT1_Pin CD5_Pin CD6_Pin CD7_Pin */
  GPIO_InitStruct.Pin = BOOT1_Pin|CD5_Pin|CD6_Pin|CD7_Pin;
  GPIO_InitStruct.Mode = GPIO_MODE_INPUT;
  GPIO_InitStruct.Pull = GPIO_NOPULL;
  HAL_GPIO_Init(GPIOB, &GPIO_InitStruct);

  /*Configure GPIO pins : A10_Pin A11_Pin BA0_Pin BA1_Pin
                           SDCLK_Pin SDNCAS_Pin */
  GPIO_InitStruct.Pin = A10_Pin|A11_Pin|BA0_Pin|BA1_Pin
                          |SDCLK_Pin|SDNCAS_Pin;
  GPIO_InitStruct.Mode = GPIO_MODE_AF_PP;
  GPIO_InitStruct.Pull = GPIO_NOPULL;
  GPIO_InitStruct.Speed = GPIO_SPEED_FREQ_VERY_HIGH;
  GPIO_InitStruct.Alternate = GPIO_AF12_FMC;
  HAL_GPIO_Init(GPIOG, &GPIO_InitStruct);

  /*Configure GPIO pins : D4_Pin D5_Pin D6_Pin D7_Pin
                           D8_Pin D9_Pin D10_Pin D11_Pin
                           D12_Pin NBL0_Pin NBL1_Pin */
  GPIO_InitStruct.Pin = D4_Pin|D5_Pin|D6_Pin|D7_Pin
                          |D8_Pin|D9_Pin|D10_Pin|D11_Pin
                          |D12_Pin|NBL0_Pin|NBL1_Pin;
  GPIO_InitStruct.Mode = GPIO_MODE_AF_PP;
  GPIO_InitStruct.Pull = GPIO_NOPULL;
  GPIO_InitStruct.Speed = GPIO_SPEED_FREQ_VERY_HIGH;
  GPIO_InitStruct.Alternate = GPIO_AF12_FMC;
  HAL_GPIO_Init(GPIOE, &GPIO_InitStruct);

  /*Configure GPIO pins : G4_Pin G5_Pin B6_Pin B7_Pin */
  GPIO_InitStruct.Pin = G4_Pin|G5_Pin|B6_Pin|B7_Pin;
  GPIO_InitStruct.Mode = GPIO_MODE_AF_PP;
  GPIO_InitStruct.Pull = GPIO_NOPULL;
  GPIO_InitStruct.Speed = GPIO_SPEED_FREQ_LOW;
  GPIO_InitStruct.Alternate = GPIO_AF14_LTDC;
  HAL_GPIO_Init(GPIOB, &GPIO_InitStruct);

  /*Configure GPIO pins : OTG_HS_ID_Pin OTG_HS_DM_Pin OTG_HS_DP_Pin */
  GPIO_InitStruct.Pin = OTG_HS_ID_Pin|OTG_HS_DM_Pin|OTG_HS_DP_Pin;
  GPIO_InitStruct.Mode = GPIO_MODE_AF_PP;
  GPIO_InitStruct.Pull = GPIO_NOPULL;
  GPIO_InitStruct.Speed = GPIO_SPEED_FREQ_LOW;
  GPIO_InitStruct.Alternate = GPIO_AF12_OTG_HS_FS;
  HAL_GPIO_Init(GPIOB, &GPIO_InitStruct);

  /*Configure GPIO pin : VBUS_HS_Pin */
  GPIO_InitStruct.Pin = VBUS_HS_Pin;
  GPIO_InitStruct.Mode = GPIO_MODE_INPUT;
  GPIO_InitStruct.Pull = GPIO_NOPULL;
  HAL_GPIO_Init(VBUS_HS_GPIO_Port, &GPIO_InitStruct);

  /*Configure GPIO pins : D13_Pin D14_Pin D15_Pin D0_Pin
                           D1_Pin D2_Pin D3_Pin */
  GPIO_InitStruct.Pin = D13_Pin|D14_Pin|D15_Pin|D0_Pin
                          |D1_Pin|D2_Pin|D3_Pin;
  GPIO_InitStruct.Mode = GPIO_MODE_AF_PP;
  GPIO_InitStruct.Pull = GPIO_NOPULL;
  GPIO_InitStruct.Speed = GPIO_SPEED_FREQ_VERY_HIGH;
  GPIO_InitStruct.Alternate = GPIO_AF12_FMC;
  HAL_GPIO_Init(GPIOD, &GPIO_InitStruct);

  /*Configure GPIO pins : TE_Pin CAM_HSYNC_Pin CAM_VSYNC_Pin */
  GPIO_InitStruct.Pin = TE_Pin|CAM_HSYNC_Pin|CAM_VSYNC_Pin;
  GPIO_InitStruct.Mode = GPIO_MODE_INPUT;
  GPIO_InitStruct.Pull = GPIO_NOPULL;
  HAL_GPIO_Init(GPIOD, &GPIO_InitStruct);

  /*Configure GPIO pins : RDX_Pin WRX_DCX_Pin */
  GPIO_InitStruct.Pin = RDX_Pin|WRX_DCX_Pin;
  GPIO_InitStruct.Mode = GPIO_MODE_OUTPUT_PP;
  GPIO_InitStruct.Pull = GPIO_NOPULL;
  GPIO_InitStruct.Speed = GPIO_SPEED_FREQ_LOW;
  HAL_GPIO_Init(GPIOD, &GPIO_InitStruct);

  /*Configure GPIO pins : R7_Pin DOTCLK_Pin B3_Pin */
  GPIO_InitStruct.Pin = R7_Pin|DOTCLK_Pin|B3_Pin;
  GPIO_InitStruct.Mode = GPIO_MODE_AF_PP;
  GPIO_InitStruct.Pull = GPIO_NOPULL;
  GPIO_InitStruct.Speed = GPIO_SPEED_FREQ_LOW;
  GPIO_InitStruct.Alternate = GPIO_AF14_LTDC;
  HAL_GPIO_Init(GPIOG, &GPIO_InitStruct);

  /*Configure GPIO pins : HSYNC_Pin G6_Pin R2_Pin */
  GPIO_InitStruct.Pin = HSYNC_Pin|G6_Pin|R2_Pin;
  GPIO_InitStruct.Mode = GPIO_MODE_AF_PP;
  GPIO_InitStruct.Pull = GPIO_NOPULL;
  GPIO_InitStruct.Speed = GPIO_SPEED_FREQ_LOW;
  GPIO_InitStruct.Alternate = GPIO_AF14_LTDC;
  HAL_GPIO_Init(GPIOC, &GPIO_InitStruct);

  /*Configure GPIO pin : PCLK_Pin */
  GPIO_InitStruct.Pin = PCLK_Pin;
  GPIO_InitStruct.Mode = GPIO_MODE_INPUT;
  GPIO_InitStruct.Pull = GPIO_NOPULL;
  HAL_GPIO_Init(PCLK_GPIO_Port, &GPIO_InitStruct);

  /*Configure GPIO pins : G7_Pin B2_Pin */
  GPIO_InitStruct.Pin = G7_Pin|B2_Pin;
  GPIO_InitStruct.Mode = GPIO_MODE_AF_PP;
  GPIO_InitStruct.Pull = GPIO_NOPULL;
  GPIO_InitStruct.Speed = GPIO_SPEED_FREQ_LOW;
  GPIO_InitStruct.Alternate = GPIO_AF14_LTDC;
  HAL_GPIO_Init(GPIOD, &GPIO_InitStruct);

  /*Configure GPIO pins : G3_Pin B4_Pin */
  GPIO_InitStruct.Pin = G3_Pin|B4_Pin;
  GPIO_InitStruct.Mode = GPIO_MODE_AF_PP;
  GPIO_InitStruct.Pull = GPIO_NOPULL;
  GPIO_InitStruct.Speed = GPIO_SPEED_FREQ_LOW;
  GPIO_InitStruct.Alternate = GPIO_AF9_LTDC;
  HAL_GPIO_Init(GPIOG, &GPIO_InitStruct);

  /*Configure GPIO pins : LD3_Pin LD4_Pin */
  GPIO_InitStruct.Pin = LD3_Pin|LD4_Pin;
  GPIO_InitStruct.Mode = GPIO_MODE_OUTPUT_PP;
  GPIO_InitStruct.Pull = GPIO_NOPULL;
  GPIO_InitStruct.Speed = GPIO_SPEED_FREQ_LOW;
  HAL_GPIO_Init(GPIOG, &GPIO_InitStruct);

  /*Configure GPIO pins : SDCKE1_Pin SDNE1_Pin */
  GPIO_InitStruct.Pin = SDCKE1_Pin|SDNE1_Pin;
  GPIO_InitStruct.Mode = GPIO_MODE_AF_PP;
  GPIO_InitStruct.Pull = GPIO_NOPULL;
  GPIO_InitStruct.Speed = GPIO_SPEED_FREQ_VERY_HIGH;
  GPIO_InitStruct.Alternate = GPIO_AF12_FMC;
  HAL_GPIO_Init(GPIOB, &GPIO_InitStruct);

  /* COnfigure PEN and PDN pins */
  GPIO_InitStruct.Pin = PEN_Pin|PDN_Pin;
  GPIO_InitStruct.Mode = GPIO_MODE_OUTPUT_PP;
  GPIO_InitStruct.Pull = GPIO_NOPULL;
  GPIO_InitStruct.Speed = GPIO_SPEED_FREQ_LOW;
  HAL_GPIO_Init(PEN_PDN_GPIO_Port, &GPIO_InitStruct);

}

void Error_Handler(void)
{
  __disable_irq();
  while (1)
  {
  }
}
